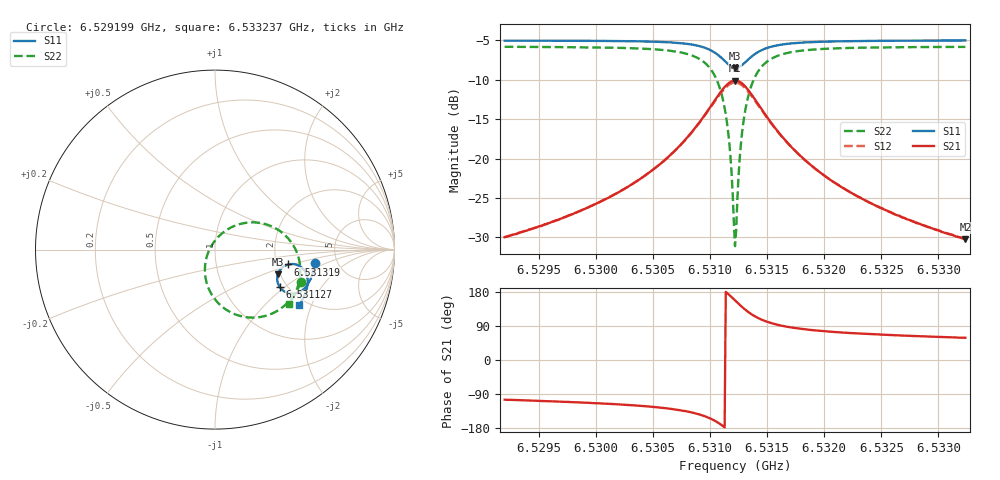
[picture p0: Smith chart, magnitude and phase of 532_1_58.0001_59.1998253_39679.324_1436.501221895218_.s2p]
#  HZ  S  RI  R  50.00
! Rohde & Schwarz Vector Network Analyzer
! Rohde-Schwarz,ZNB20-2Port,1311601062101988,3.16
! Created: UTC 3/21/2024, 1:14:08 AM
! freq[Hz]  re:S11  im:S11  re:S21  im:S21  re:S12  im:S12  re:S22  im:S22
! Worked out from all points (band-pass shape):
!   401 points, 6.529199 GHz to 6.533237 GHz, reference 50 ohm
!   highest |S21| = -10.08 dB at 6.531218 GHz (marker M1); lowest = -30.2 dB at 6.533237 GHz (marker M2)
!   |S21| within 3 dB of the highest: 6.531018 GHz to 6.531421 GHz (403.1 kHz wide, 0.00617 % of centre)
!   lowest |S11| = -8.5 dB at 6.531218 GHz (marker M3), VSWR 2.21, Z = 97.3 - j31.2 ohm
!   |S11| at or under -10 dB: nowhere
!   |S22| runs from -31.1 to -5.8 dB; largest |S21 - S12| = 0.012
!   S11 on the Smith chart (normalised r, x): 6.529199 GHz: 3.39, -0.72; 6.531127 GHz: 1.83, -0.93; 6.531319 GHz: 2.31, -0.46; 6.533237 GHz: 1.82, -1.64
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6.5291995e9  0.5561 -0.0733  -0.008 -0.0307  -0.0086 -0.0306  0.4805 -0.1783
6.5298758e9  0.5445 -0.1296  -0.0179 -0.0436  -0.0187 -0.0432  0.4486 -0.2409
6.5302492e9  0.5324 -0.1644  -0.0302 -0.0567  -0.0316 -0.056  0.4158 -0.2845
6.530552e9  0.5148 -0.1972  -0.0526 -0.0744  -0.0547 -0.0729  0.3655 -0.3295
6.5307842e9  0.4869 -0.2265  -0.0933 -0.0936  -0.096 -0.0903  0.2832 -0.3687
6.5309558e9  0.442 -0.2448  -0.1628 -0.0991  -0.1649 -0.0925  0.1556 -0.3735
6.5310567e9  0.3965 -0.2383  -0.233 -0.0713  -0.232 -0.0617  0.0372 -0.3157
6.5311274e9  0.3614 -0.2096  -0.2844 -0.011  -0.2782 -0.00123  -0.0397 -0.206
6.5311677e9  0.3486 -0.1808  -0.3001 0.043  -0.2907 0.051  -0.0564 -0.1137
6.5312081e9  0.3481 -0.1464  -0.2944 0.1047  -0.2834 0.109  -0.037 -0.0137
6.5312182e9  0.3502 -0.1378  -0.2894 0.1198  -0.278 0.123  -0.0259 0.0101
6.5312283e9  0.3534 -0.1295  -0.2827 0.1344  -0.2713 0.1365  -0.0126 0.0327
6.5312384e9  0.3573 -0.1217  -0.2744 0.148  -0.2633 0.1492  0.00286 0.0537
6.5312586e9  0.3674 -0.1076  -0.2547 0.1725  -0.2443 0.1718  0.039 0.0903
6.5312788e9  0.3799 -0.0963  -0.2316 0.1919  -0.2223 0.1899  0.08 0.1185
6.5313191e9  0.4078 -0.0829  -0.1813 0.2148  -0.1745 0.2113  0.1666 0.1485
6.5313898e9  0.4521 -0.0835  -0.1041 0.2158  -0.1008 0.2126  0.296 0.1372
6.5314907e9  0.4901 -0.1067  -0.0382 0.1832  -0.0367 0.1814  0.4027 0.0678
6.5316421e9  0.5118 -0.1437  0.000979 0.1349  0.00217 0.1343  0.4609 -0.0294
6.5318945e9  0.5163 -0.1875  0.0172 0.0879  0.0182 0.0876  0.4751 -0.1281
6.5325707e9  0.4971 -0.2581  0.0186 0.0419  0.0195 0.0417  0.4461 -0.2447
6.5332369e9  0.4707 -0.3081  0.016 0.0263  0.0167 0.0261  0.4118 -0.3043
